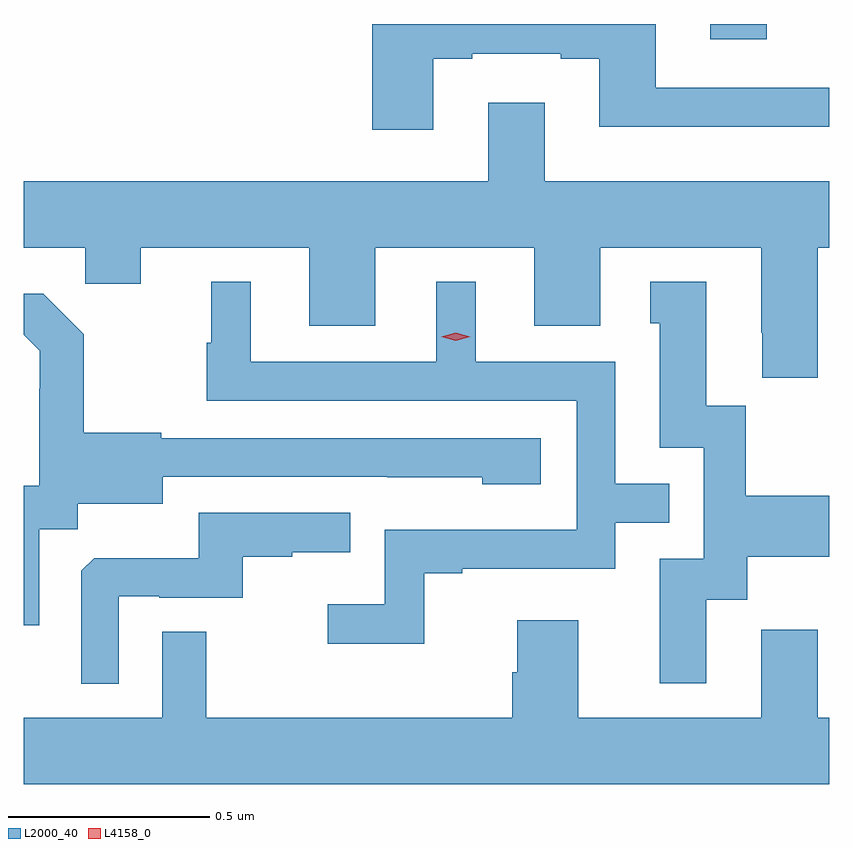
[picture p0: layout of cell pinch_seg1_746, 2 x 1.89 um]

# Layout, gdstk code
import gdstk
lib = gdstk.Library(unit=1e-6, precision=1e-09)
def R(c, l, rs):  # rectangles x0, y0, x1, y1
    for r in rs: c.add(gdstk.rectangle(r[:2], r[2:], *l))
def P(c, l, *ps):  # polygons
    for p in ps: c.add(gdstk.Polygon(p, *l))
L2000_40 = (2000, 40)
L4158_0 = (4158, 0)

pinch_seg1_746 = lib.new_cell('pinch_seg1_746')
R(pinch_seg1_746, L2000_40, [(647.279,520.281,647.419,520.319)])
P(pinch_seg1_746, L2000_40, [(646.591,520.233),(646.687,520.233),(646.687,520.245),(646.907,520.245),(646.907,520.233),(647.003,520.233),(647.003,520.064),(647.574,520.064),(647.574,520.161),(647.143,520.161),(647.143,520.319),(646.439,520.319),(646.439,520.056),(646.591,520.056)],
  [(647.545,519.764),(647.574,519.764),(647.574,519.928),(646.867,519.928),(646.867,520.123),(646.727,520.123),(646.727,519.928),(645.574,519.928),(645.574,519.764),(645.727,519.764),(645.727,519.674),(645.865,519.674),(645.865,519.764),(646.283,519.764),(646.283,519.57),(646.447,519.57),(646.447,519.764),(646.841,519.764),(646.841,519.57),(647.005,519.57),(647.005,519.764),(647.405,519.764),(647.405,519.553),(647.408,519.553),(647.408,519.441),(647.545,519.441)],
  [(647.269,518.89),(647.371,518.89),(647.371,518.996),(647.574,518.996),(647.574,519.148),(647.367,519.148),(647.367,519.371),(647.269,519.371),(647.269,519.679),(647.129,519.679),(647.129,519.576),(647.153,519.576),(647.153,519.267),(647.262,519.267),(647.262,518.991),(647.153,518.991),(647.153,518.682),(647.269,518.682)],
  [(646.569,518.955),(646.663,518.955),(646.663,518.967),(647.043,518.967),(647.043,519.081),(647.177,519.081),(647.177,519.177),(647.043,519.177),(647.043,519.48),(646.696,519.48),(646.696,519.679),(646.598,519.679),(646.598,519.48),(646.138,519.48),(646.138,519.679),(646.04,519.679),(646.04,519.528),(646.029,519.528),(646.029,519.384),(646.947,519.384),(646.947,519.063),(646.47,519.063),(646.47,518.878),(646.329,518.878),(646.329,518.78),(646.569,518.78)],
  [(645.613,519.064),(645.708,519.064),(645.708,519.128),(645.919,519.128),(645.919,519.195),(646.477,519.195),(646.477,519.194),(646.713,519.194),(646.713,519.176),(646.858,519.176),(646.858,519.291),(645.915,519.291),(645.915,519.304),(645.723,519.304),(645.723,519.549),(645.623,519.649),(645.574,519.649),(645.574,519.548),(645.614,519.508),(645.614,519.413),(645.612,519.413),(645.612,519.172),(645.574,519.172),(645.574,518.826),(645.613,518.826)],
  [(645.81,518.898),(645.91,518.898),(645.91,518.895),(646.118,518.895),(646.118,518.996),(646.241,518.996),(646.241,519.008),(646.385,519.008),(646.385,519.105),(646.008,519.105),(646.008,518.993),(645.749,518.993),(645.717,518.961),(645.717,518.681),(645.81,518.681)],
  [(647.574,518.596),(647.545,518.596),(647.545,518.815),(647.405,518.815),(647.405,518.596),(646.951,518.596),(646.951,518.839),(646.799,518.839),(646.799,518.709),(646.787,518.709),(646.787,518.596),(646.027,518.596),(646.027,518.81),(645.918,518.81),(645.918,518.596),(645.574,518.596),(645.574,518.432),(647.574,518.432)])
P(pinch_seg1_746, L4158_0, [(646.647,519.533),(646.611,519.542),(646.611,519.543),(646.611,519.543),(646.647,519.553),(646.683,519.543),(646.683,519.543),(646.683,519.542)])

lib.write_gds('pinch_seg1_746.gds')
